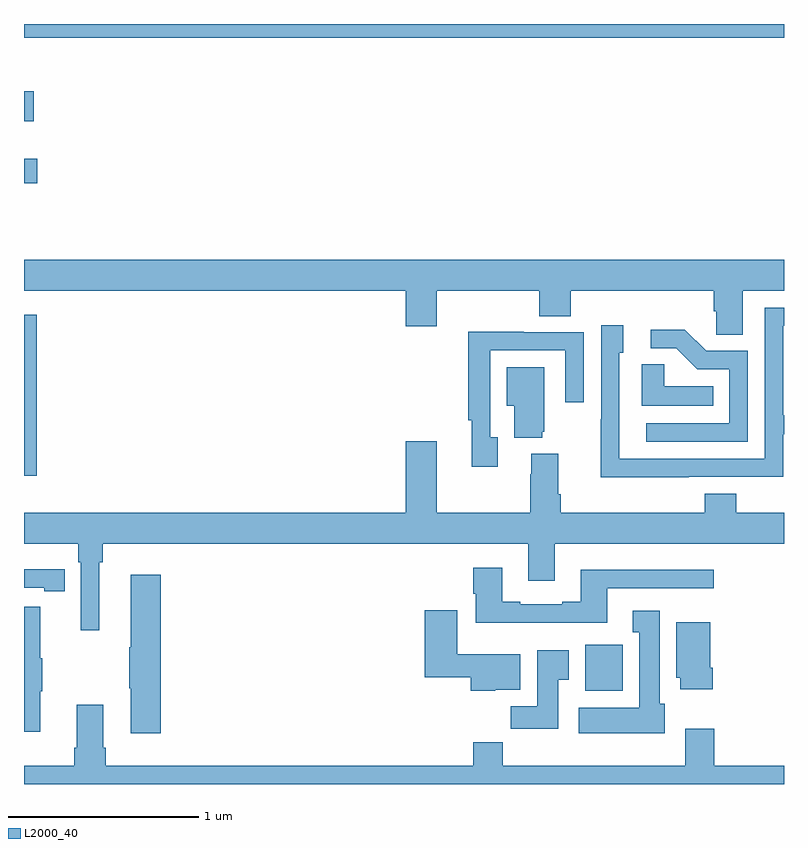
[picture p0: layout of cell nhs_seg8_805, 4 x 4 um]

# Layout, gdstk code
import gdstk
lib = gdstk.Library(unit=1e-6, precision=1e-09)
def R(c, l, rs):  # rectangles x0, y0, x1, y1
    for r in rs: c.add(gdstk.rectangle(r[:2], r[2:], *l))
def P(c, l, *ps):  # polygons
    for p in ps: c.add(gdstk.Polygon(p, *l))
L2000_40 = (2000, 40)

nhs_seg8_805 = lib.new_cell('nhs_seg8_805')
R(nhs_seg8_805, L2000_40, [(165.953,1118.39,166.15,1118.632), (163,1119.522,163.067,1120.369), (163,1121.062,163.069,1121.191), (163,1121.387,163.051,1121.545), (163,1121.828,167,1121.9)])
P(nhs_seg8_805, L2000_40, [(166.783,1120.496),(167,1120.496),(167,1120.66),(163,1120.66),(163,1120.496),(165.008,1120.496),(165.008,1120.308),(165.172,1120.308),(165.172,1120.496),(165.713,1120.496),(165.713,1120.363),(165.878,1120.363),(165.878,1120.496),(166.631,1120.496),(166.631,1120.387),(166.644,1120.387),(166.644,1120.264),(166.783,1120.264)],
  [(166.499,1119.516),(166.995,1119.516),(166.995,1119.741),(167,1119.741),(167,1119.842),(166.995,1119.842),(166.995,1120.311),(167,1120.311),(167,1120.407),(166.899,1120.407),(166.899,1119.612),(166.134,1119.612),(166.134,1120.17),(166.153,1120.17),(166.153,1120.315),(166.038,1120.315),(166.038,1119.821),(166.036,1119.821),(166.036,1119.515),(166.499,1119.515)],
  [(166.809,1120.179),(166.59,1120.179),(166.477,1120.292),(166.299,1120.292),(166.299,1120.194),(166.433,1120.194),(166.544,1120.083),(166.713,1120.083),(166.713,1119.798),(166.275,1119.798),(166.275,1119.702),(166.809,1119.702)],
  [(165.493,1119.726),(165.453,1119.726),(165.453,1120.182),(165.849,1120.182),(165.849,1119.909),(165.945,1119.909),(165.945,1120.278),(165.629,1120.278),(165.629,1120.28),(165.337,1120.28),(165.337,1119.814),(165.356,1119.814),(165.356,1119.57),(165.493,1119.57)],
  [(166.628,1119.994),(166.371,1119.994),(166.371,1120.109),(166.25,1120.109),(166.25,1119.89),(166.628,1119.89)],
  [(165.728,1119.753),(165.739,1119.753),(165.739,1120.093),(165.542,1120.093),(165.542,1119.89),(165.581,1119.89),(165.581,1119.722),(165.728,1119.722)],
  [(163.396,1119.068),(163.415,1119.068),(163.415,1119.164),(165.653,1119.164),(165.653,1118.97),(165.793,1118.97),(165.793,1119.164),(167,1119.164),(167,1119.328),(166.748,1119.328),(166.748,1119.427),(166.583,1119.427),(166.583,1119.328),(165.824,1119.328),(165.824,1119.424),(165.811,1119.424),(165.811,1119.637),(165.671,1119.637),(165.671,1119.53),(165.664,1119.53),(165.664,1119.328),(165.172,1119.328),(165.172,1119.703),(165.008,1119.703),(165.008,1119.328),(163,1119.328),(163,1119.164),(163.286,1119.164),(163.286,1119.068),(163.299,1119.068),(163.299,1118.709),(163.396,1118.709)],
  [(166.069,1118.931),(166.63,1118.931),(166.63,1119.028),(165.929,1119.028),(165.929,1118.86),(165.833,1118.86),(165.833,1118.847),(165.613,1118.847),(165.613,1118.86),(165.517,1118.86),(165.517,1119.037),(165.365,1119.037),(165.365,1118.902),(165.377,1118.902),(165.377,1118.75),(166.069,1118.75)],
  [(163.214,1119.03),(163.106,1119.03),(163.106,1119.031),(163,1119.031),(163,1118.934),(163.106,1118.934),(163.106,1118.914),(163.214,1118.914)],
  [(163.721,1119.001),(163.562,1119.001),(163.562,1118.621),(163.555,1118.621),(163.555,1118.404),(163.562,1118.404),(163.562,1118.166),(163.721,1118.166)],
  [(163.085,1118.387),(163.096,1118.387),(163.096,1118.561),(163.085,1118.561),(163.085,1118.833),(163,1118.833),(163,1118.175),(163.085,1118.175)],
  [(165.48,1118.396),(165.613,1118.396),(165.613,1118.584),(165.28,1118.584),(165.28,1118.815),(165.11,1118.815),(165.11,1118.462),(165.35,1118.462),(165.35,1118.39),(165.48,1118.39)],
  [(166.372,1118.322),(166.345,1118.322),(166.345,1118.812),(166.205,1118.812),(166.205,1118.699),(166.238,1118.699),(166.238,1118.302),(165.921,1118.302),(165.921,1118.168),(166.372,1118.168)],
  [(166.625,1118.512),(166.612,1118.512),(166.612,1118.752),(166.433,1118.752),(166.433,1118.46),(166.454,1118.46),(166.454,1118.4),(166.625,1118.4)],
  [(165.811,1118.449),(165.868,1118.449),(165.868,1118.605),(165.701,1118.605),(165.701,1118.308),(165.562,1118.308),(165.562,1118.19),(165.811,1118.19)],
  [(167,1117.996),(166.634,1117.996),(166.634,1118.191),(166.481,1118.191),(166.481,1117.996),(165.521,1117.996),(165.521,1118.12),(165.365,1118.12),(165.365,1117.996),(163.43,1117.996),(163.43,1118.092),(163.417,1118.092),(163.417,1118.317),(163.277,1118.317),(163.277,1118.092),(163.265,1118.092),(163.265,1117.996),(163,1117.996),(163,1117.9),(167,1117.9)])

lib.write_gds('nhs_seg8_805.gds')
